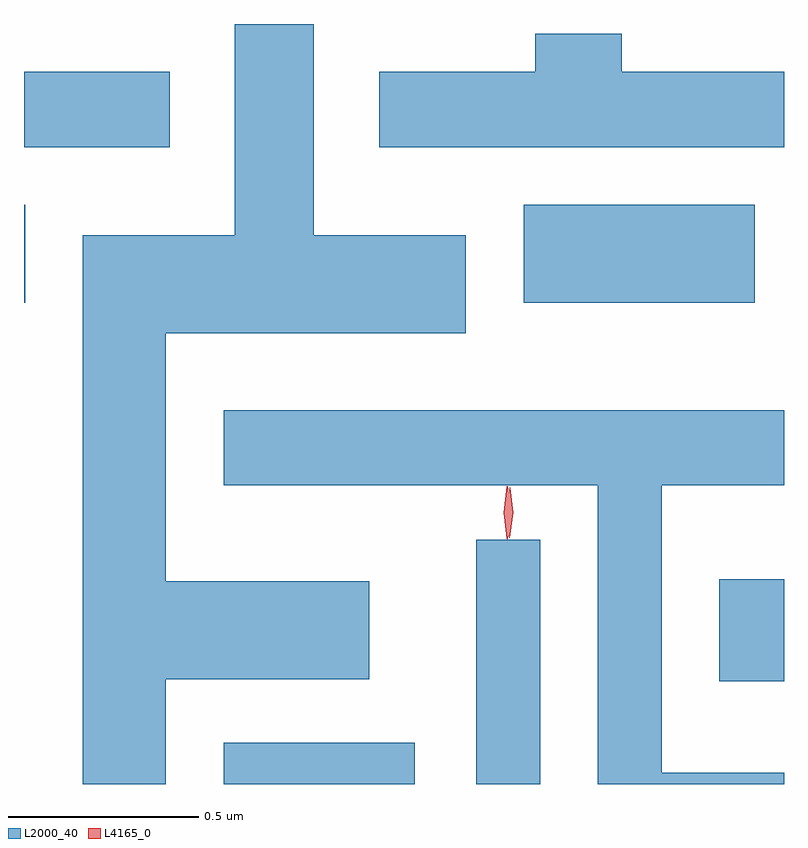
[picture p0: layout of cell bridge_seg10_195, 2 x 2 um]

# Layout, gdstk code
import gdstk
lib = gdstk.Library(unit=1e-6, precision=1e-09)
def R(c, l, rs):  # rectangles x0, y0, x1, y1
    for r in rs: c.add(gdstk.rectangle(r[:2], r[2:], *l))
def P(c, l, *ps):  # polygons
    for p in ps: c.add(gdstk.Polygon(p, *l))
L2000_40 = (2000, 40)
L4165_0 = (4165, 0)

bridge_seg10_195 = lib.new_cell('bridge_seg10_195')
R(bridge_seg10_195, L2000_40, [(1848.166,2141.53,1848.669,2141.639), (1848.831,2141.53,1848.999,2142.173), (1849.471,2141.801,1849.641,2142.069), (1847.641,2142.796,1847.644,2143.054), (1848.956,2142.796,1849.564,2143.054), (1847.641,2143.206,1848.024,2143.404)])
P(bridge_seg10_195, L2000_40, [(1848.014,2141.806),(1848.549,2141.806),(1848.549,2142.064),(1848.014,2142.064),(1848.014,2142.716),(1848.804,2142.716),(1848.804,2142.974),(1848.404,2142.974),(1848.404,2143.53),(1848.196,2143.53),(1848.196,2142.974),(1847.796,2142.974),(1847.796,2141.53),(1848.014,2141.53)],
  [(1849.641,2143.404),(1849.214,2143.404),(1849.214,2143.504),(1848.986,2143.504),(1848.986,2143.404),(1848.576,2143.404),(1848.576,2143.206),(1849.641,2143.206)],
  [(1849.641,2141.559),(1849.319,2141.559),(1849.319,2142.316),(1849.641,2142.316),(1849.641,2142.514),(1848.166,2142.514),(1848.166,2142.316),(1849.151,2142.316),(1849.151,2141.53),(1849.641,2141.53)])
P(bridge_seg10_195, L4165_0, [(1848.913,2142.174),(1848.912,2142.175),(1848.903,2142.244),(1848.912,2142.313),(1848.913,2142.314),(1848.914,2142.313),(1848.923,2142.244),(1848.914,2142.175)],
  [(1848.918,2142.178),(1848.909,2142.244),(1848.919,2142.31),(1848.919,2142.311),(1848.92,2142.31),(1848.929,2142.244),(1848.919,2142.178),(1848.919,2142.178)])

lib.write_gds('bridge_seg10_195.gds')
